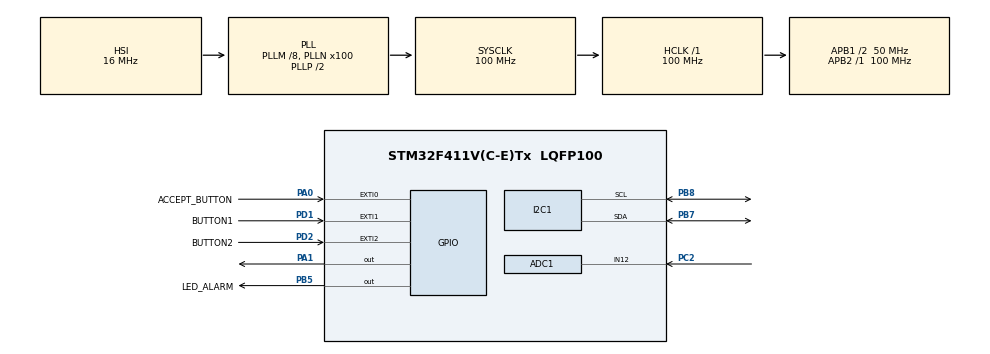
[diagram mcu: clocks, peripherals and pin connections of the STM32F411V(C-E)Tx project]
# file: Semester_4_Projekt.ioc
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ADC1.Channel-0\#ChannelRegularConversion=ADC_CHANNEL_12
ADC1.ContinuousConvMode=ENABLE
ADC1.DMAContinuousRequests=DISABLE
ADC1.NbrOfConversionFlag=1
ADC1.Rank-0\#ChannelRegularConversion=1
ADC1.SamplingTime-0\#ChannelRegularConversion=ADC_SAMPLETIME_3CYCLES
ADC1.master=1
Dma.ADC1.0.Direction=DMA_PERIPH_TO_MEMORY
Dma.ADC1.0.FIFOMode=DMA_FIFOMODE_DISABLE
Dma.ADC1.0.Instance=DMA2_Stream0
Dma.ADC1.0.MemDataAlignment=DMA_MDATAALIGN_WORD
Dma.ADC1.0.MemInc=DMA_MINC_ENABLE
Dma.ADC1.0.Mode=DMA_CIRCULAR
Dma.ADC1.0.PeriphDataAlignment=DMA_PDATAALIGN_WORD
Dma.ADC1.0.PeriphInc=DMA_PINC_DISABLE
Dma.ADC1.0.Priority=DMA_PRIORITY_LOW
Dma.Request0=ADC1
Mcu.Family=STM32F4
Mcu.Name=STM32F411V(C-E)Tx
Mcu.Package=LQFP100
NVIC.ADC_IRQn=true\:0\:0\:false\:false\:true\:true\:true\:true
NVIC.DMA2_Stream0_IRQn=true\:0\:0\:false\:false\:true\:false\:true\:true
NVIC.EXTI0_IRQn=true\:1\:0\:true\:false\:true\:true\:true\:true
NVIC.EXTI1_IRQn=true\:1\:0\:true\:false\:true\:true\:true\:true
NVIC.EXTI2_IRQn=true\:1\:0\:true\:false\:true\:true\:true\:true
NVIC.I2C1_ER_IRQn=true\:0\:0\:false\:false\:true\:true\:true\:true
NVIC.I2C1_EV_IRQn=true\:0\:0\:false\:false\:true\:true\:true\:true
NVIC.PriorityGroup=NVIC_PRIORITYGROUP_4
NVIC.TIM1_BRK_TIM9_IRQn=true\:1\:0\:true\:false\:true\:true\:true\:true
NVIC.TIM1_UP_TIM10_IRQn=true\:1\:0\:true\:false\:true\:true\:true\:true
NVIC.TIM2_IRQn=true\:1\:0\:true\:false\:true\:true\:true\:true
PA0-WKUP.GPIO_Label=ACCEPT_BUTTON
PA0-WKUP.Signal=GPXTI0
PA1.GPIO_ModeDefaultOutputPP=GPIO_MODE_OUTPUT_OD
PA1.GPIO_PuPd=GPIO_NOPULL
PA1.GPIO_Speed=GPIO_SPEED_FREQ_HIGH
PA1.Signal=GPIO_Output
PB5.GPIO_Label=LED_ALARM
PB5.Signal=GPIO_Output
PB7.Mode=I2C
PB7.Signal=I2C1_SDA
PB8.Mode=I2C
PB8.Signal=I2C1_SCL
PC2.Signal=ADCx_IN12
PD1.GPIO_Label=BUTTON1
PD1.GPIO_ModeDefaultEXTI=GPIO_MODE_IT_RISING
PD1.Signal=GPXTI1
PD2.GPIO_Label=BUTTON2
PD2.Signal=GPXTI2
ProjectManager.HeapSize=0x200
ProjectManager.StackSize=0x400
ProjectManager.TargetToolchain=STM32CubeIDE
RCC.48MHZClocksFreq_Value=50000000
RCC.AHBFreq_Value=100000000
RCC.APB1CLKDivider=RCC_HCLK_DIV2
RCC.APB1Freq_Value=50000000
RCC.APB1TimFreq_Value=100000000
RCC.APB2Freq_Value=100000000
RCC.APB2TimFreq_Value=100000000
RCC.CortexFreq_Value=100000000
RCC.HCLKFreq_Value=100000000
RCC.HSE_VALUE=25000000
RCC.HSI_VALUE=16000000
RCC.LSE_VALUE=32768
RCC.PLLM=8
RCC.PLLN=100
RCC.SYSCLKFreq_VALUE=100000000
RCC.SYSCLKSource=RCC_SYSCLKSOURCE_PLLCLK
RCC.VCOOutputFreq_Value=200000000
SH.ADCx_IN12.0=ADC1_IN12,IN12
TIM1.Period=49999
TIM1.Prescaler=199
TIM2.Period=0
TIM2.Prescaler=0
VP_TIM1_VS_ClockSourceINT.Mode=Internal
VP_TIM2_VS_ClockSourceINT.Mode=Internal
board=custom

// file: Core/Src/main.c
/* USER CODE BEGIN Header */
/**
  ******************************************************************************
  * @file           : main.c
  * @brief          : Main program body
  ******************************************************************************
  * @attention
  *
  * Copyright (c) 2025 STMicroelectronics.
  * All rights reserved.
  *
  * This software is licensed under terms that can be found in the LICENSE file
  * in the root directory of this software component.
  * If no LICENSE file comes with this software, it is provided AS-IS.
  *
  ******************************************************************************
  */
/* USER CODE END Header */
#include "main.h"

/* USER CODE BEGIN Includes */
#include <stdlib.h>
#include <stdio.h>
#include <string.h>
#include "OneWire.h"
#include "DS18B20.h"
#include "i2clcd.h"
/* USER CODE END Includes */

/* USER CODE BEGIN PTD */
enum Menu_State{
    MENU_STATE_TEMP = 0, MENU_STATE_ROM,
    MENU_STATE_RES, MENU_STATE_THRESHOLD_T_LOW, MENU_STATE_THRESHOLD_T_HIGH
};

/* USER CODE END PTD */

/* USER CODE BEGIN PD */
#define ADC_NUM_SAMPLES 100

/* USER CODE END PD */

ADC_HandleTypeDef hadc1;
DMA_HandleTypeDef hdma_adc1;

I2C_HandleTypeDef hi2c1;

TIM_HandleTypeDef htim1;
TIM_HandleTypeDef htim2;

/* USER CODE BEGIN PV */
OneWire_HandleTypedef honew1;
DS18B20_HandleTypedef hds18b20;

int8_t tHigh, tLow;
char strbuf[20];

enum Menu_State curr_menu_state;

uint32_t adc_buffer[ADC_NUM_SAMPLES];
uint32_t adc_median;

/* USER CODE END PV */

void SystemClock_Config(void);
static void MX_GPIO_Init(void);
static void MX_DMA_Init(void);
static void MX_TIM2_Init(void);
static void MX_I2C1_Init(void);
static void MX_ADC1_Init(void);
static void MX_TIM1_Init(void);

/* USER CODE BEGIN 0 */

void print_menu(){
    switch(curr_menu_state){
    case MENU_STATE_TEMP:
        lcd_send_cmd((char)(0x80 | lcd_get_pos(0, 0)));
        lcd_send_string("Current Temperature:");

        lcd_send_cmd((char)(0x80 | lcd_get_pos(1, 7)));
        sprintf(strbuf, "%.3f", DS18B20_getTemp(&hds18b20));
        lcd_send_string(strbuf);

        lcd_send_cmd((char)(0x80 | lcd_get_pos(3, 18)));
        lcd_send_string("->");
        break;
    case MENU_STATE_ROM:
        lcd_send_cmd((char)(0x80 | lcd_get_pos(0, 5)));
        lcd_send_string("Sensor ROM");

        lcd_send_cmd((char)(0x80 | lcd_get_pos(1, 1)));
        sprintf(strbuf, "0x%02X%02X%02X%02X%02X%02X%02X%02X", hds18b20.rom[0], hds18b20.rom[1],
                                                              hds18b20.rom[2], hds18b20.rom[3],
                                                              hds18b20.rom[4], hds18b20.rom[5],
                                                              hds18b20.rom[6], hds18b20.rom[7]);
        lcd_send_string(strbuf);

        lcd_send_cmd((char)(0x80 | lcd_get_pos(3, 0)));
        lcd_send_string("<-");
        lcd_send_cmd((char)(0x80 | lcd_get_pos(3, 18)));
        lcd_send_string("->");
        break;
    case MENU_STATE_RES:
        lcd_send_cmd((char)(0x80 | lcd_get_pos(0, 1)));
        lcd_send_string("Current Resolution");

        lcd_send_cmd((char)(0x80 | lcd_get_pos(1, 7)));
        switch(DS18B20_getResolution(&hds18b20)){
        case DS18B20_RES_9Bit:
            lcd_send_string(" 9 Bit");
            break;
        case DS18B20_RES_10Bit:
            lcd_send_string("10 Bit");
            break;
        case DS18B20_RES_11Bit:
            lcd_send_string("11 Bit");
            break;
        case DS18B20_RES_12Bit:
            lcd_send_string("12 Bit");
            break;
        default:
            lcd_send_cmd((char)(0x80 | lcd_get_pos(1, 5)));
            lcd_send_string("WHAT Y'ALL");
            lcd_send_cmd((char)(0x80 | lcd_get_pos(2, 5)));
            lcd_send_string("DOIN' HERE");
            break;
        }

        lcd_send_cmd((char)(0x80 | lcd_get_pos(2, 3)));
        lcd_send_string("Set Resolution");

        lcd_send_cmd((char)(0x80 | lcd_get_pos(3, 7)));
        switch(__LL_ADC_CALC_DATA_TO_VOLTAGE(3, adc_median, LL_ADC_RESOLUTION_12B)){
        case 0:
            lcd_send_string(" 9 Bit");
            break;
        case 1:
            lcd_send_string("10 Bit");
            break;
        case 2:
            lcd_send_string("11 Bit");
            break;
        case 3:
            lcd_send_string("12 Bit");
            break;
        default:
            lcd_send_cmd((char)(0x80 | lcd_get_pos(1, 5)));
            lcd_send_string("WHAT Y'ALL");
            lcd_send_cmd((char)(0x80 | lcd_get_pos(2, 5)));
            lcd_send_string("DOIN' HERE");
            break;
        }

        lcd_send_cmd((char)(0x80 | lcd_get_pos(3, 0)));
        lcd_send_string("<-");
        lcd_send_cmd((char)(0x80 | lcd_get_pos(3, 18)));
        lcd_send_string("->");
        break;
    case MENU_STATE_THRESHOLD_T_LOW:
        lcd_send_cmd((char)(0x80 | lcd_get_pos(0, 1)));
        lcd_send_string("Current Alarm Low:");

        lcd_send_cmd((char)(0x80 | lcd_get_pos(1, 8)));
        sprintf(strbuf, "%d C", tLow);
        lcd_send_string(strbuf);

        lcd_send_cmd((char)(0x80 | lcd_get_pos(2, 3)));
        lcd_send_string("Set Alarm Low:");

        lcd_clear_line(3, 0);
        lcd_send_cmd((char)(0x80 | lcd_get_pos(3, 8)));
        sprintf(strbuf, "%d C", (int8_t)(__LL_ADC_CALC_DATA_TO_VOLTAGE(UINT8_MAX, adc_median, LL_ADC_RESOLUTION_12B)));
        lcd_send_string(strbuf);

        lcd_send_cmd((char)(0x80 | lcd_get_pos(3, 18)));
        lcd_send_string("->");
        lcd_send_cmd((char)(0x80 | lcd_get_pos(3, 0)));
        lcd_send_string("<-");
        break;
    case MENU_STATE_THRESHOLD_T_HIGH:
        lcd_send_cmd((char)(0x80 | lcd_get_pos(0, 1)));
        lcd_send_string("Current Alarm High");

        lcd_send_cmd((char)(0x80 | lcd_get_pos(1, 8)));
        sprintf(strbuf, "%d C", tHigh);
        lcd_send_string(strbuf);

        lcd_send_cmd((char)(0x80 | lcd_get_pos(2, 3)));
        lcd_send_string("Set Alarm High");

        lcd_clear_line(3, 0);
        lcd_send_cmd((char)(0x80 | lcd_get_pos(3, 8)));
        sprintf(strbuf, "%d C", (int8_t)(__LL_ADC_CALC_DATA_TO_VOLTAGE(UINT8_MAX, adc_median, LL_ADC_RESOLUTION_12B)));
        lcd_send_string(strbuf);

        lcd_send_cmd((char)(0x80 | lcd_get_pos(3, 0)));
        lcd_send_string("<-");
        break;
    default:
        lcd_send_cmd((char)(0x80 | lcd_get_pos(1, 5)));
        lcd_send_string("WHAT Y'ALL");
        lcd_send_cmd((char)(0x80 | lcd_get_pos(2, 5)));
        lcd_send_string("DOIN' HERE");
        break;
    }
}

void calcMedian(){
    uint32_t sum = 0;
    for (uint32_t i = 0; i < ADC_NUM_SAMPLES; ++i){
        sum += adc_buffer[i];
    }
    adc_median = sum/ADC_NUM_SAMPLES;
}

void HAL_ADC_ConvCpltCallback(ADC_HandleTypeDef* hadc){
    if(hadc->Instance == ADC1){
        calcMedian();
    }
}

void HAL_TIM_PeriodElapsedCallback(TIM_HandleTypeDef* htim){
    if(htim->Instance == htim2.Instance){ // OneWire Interrupt (Lib changes timings!)
        OneWire_TIM_Hook(&honew1);
    }
    if(htim->Instance == htim1.Instance){ // 100ms Interrupt
        DS18B20_ConvertT_single(&hds18b20);
        DS18B20_ReadScratchpad(&hds18b20);
        DS18B20_getThresholdT(&hds18b20, &tHigh, &tLow);

        if((int8_t)(DS18B20_getTemp(&hds18b20)) > tHigh || (int8_t)(DS18B20_getTemp(&hds18b20)) < tLow){
            HAL_GPIO_WritePin(LED_ALARM_GPIO_Port, LED_ALARM_Pin, GPIO_PIN_SET);
        }
        else HAL_GPIO_WritePin(LED_ALARM_GPIO_Port, LED_ALARM_Pin, GPIO_PIN_RESET);

        if (curr_menu_state == MENU_STATE_RES ||
            curr_menu_state == MENU_STATE_THRESHOLD_T_LOW ||
            curr_menu_state == MENU_STATE_THRESHOLD_T_HIGH){
            HAL_ADC_Start_DMA(&hadc1, adc_buffer, ADC_NUM_SAMPLES);
        }

        print_menu();
    }
}

void HAL_GPIO_EXTI_Callback(uint16_t GPIO_Pin){
    switch(GPIO_Pin){
    case BUTTON1_Pin:
        if (curr_menu_state != MENU_STATE_TEMP){ // Call it Karl Marx, 'cause you ain't getting more left
            curr_menu_state--;
            lcd_clear();
        }
        break;
    case BUTTON2_Pin:
        if (curr_menu_state != MENU_STATE_THRESHOLD_T_HIGH){ // Call it Adolf, 'cause ... i'll better stop
            curr_menu_state++;
            lcd_clear();
        }
        break;
    case ACCEPT_BUTTON_Pin:
        switch(curr_menu_state){
        case MENU_STATE_RES:
            DS18B20_setResolution(&hds18b20,
                                 (DS18B20_Resolution)(__LL_ADC_CALC_DATA_TO_VOLTAGE(3, adc_median, LL_ADC_RESOLUTION_12B)));
            DS18B20_WriteScratchpad(&hds18b20);

            // copy Scratchpad into EEPROM... that lousy dev didnt provide a ds18b20 function for it
            OneWire_WriteByte(&honew1, DS18B20_CMD_CP_SCRATCHPAD);
            break;
        case MENU_STATE_THRESHOLD_T_LOW:
            DS18B20_setThresholdT(&hds18b20,
                    (int8_t)(__LL_ADC_CALC_DATA_TO_VOLTAGE(UINT8_MAX, adc_median, LL_ADC_RESOLUTION_12B)),
                    tHigh);
            DS18B20_WriteScratchpad(&hds18b20);
            OneWire_WriteByte(&honew1, DS18B20_CMD_CP_SCRATCHPAD);
            break;
        case MENU_STATE_THRESHOLD_T_HIGH:
            DS18B20_setThresholdT(&hds18b20,
                    tLow,
                    (int8_t)(__LL_ADC_CALC_DATA_TO_VOLTAGE(UINT8_MAX, adc_median, LL_ADC_RESOLUTION_12B)));
            DS18B20_WriteScratchpad(&hds18b20);
            OneWire_WriteByte(&honew1, DS18B20_CMD_CP_SCRATCHPAD);
            break;
        case MENU_STATE_TEMP: // keeping the compiler happy,
        case MENU_STATE_ROM:  // cause of the warning "-Wswitch" -.-
            break;
        }
        break;
    }
}

/* USER CODE END 0 */

int main(void)
{

  /* MCU Configuration--------------------------------------------------------*/

  /* Reset of all peripherals, Initializes the Flash interface and the Systick. */
  HAL_Init();

  /* Configure the system clock */
  SystemClock_Config();

  /* Initialize all configured peripherals */
  MX_GPIO_Init();
  MX_DMA_Init();
  MX_TIM2_Init();
  MX_I2C1_Init();
  MX_ADC1_Init();
  MX_TIM1_Init();
  /* USER CODE BEGIN 2 */

  OneWire_init(&honew1, &htim2, GPIOA, GPIO_PIN_1);
  DS18B20_init(&hds18b20, &honew1);
  DS18B20_ReadROM(&hds18b20);

  lcd_init();
  lcd_clear();

  HAL_TIM_Base_Start_IT(&htim1);

  /* USER CODE END 2 */

  /* Infinite loop */
  while (1)
  {

  }
}

void SystemClock_Config(void)
{
  RCC_OscInitTypeDef RCC_OscInitStruct = {0};
  RCC_ClkInitTypeDef RCC_ClkInitStruct = {0};

  /** Configure the main internal regulator output voltage
  */
  __HAL_RCC_PWR_CLK_ENABLE();
  __HAL_PWR_VOLTAGESCALING_CONFIG(PWR_REGULATOR_VOLTAGE_SCALE1);

  /** Initializes the RCC Oscillators according to the specified parameters
  * in the RCC_OscInitTypeDef structure.
  */
  RCC_OscInitStruct.OscillatorType = RCC_OSCILLATORTYPE_HSI;
  RCC_OscInitStruct.HSIState = RCC_HSI_ON;
  RCC_OscInitStruct.HSICalibrationValue = RCC_HSICALIBRATION_DEFAULT;
  RCC_OscInitStruct.PLL.PLLState = RCC_PLL_ON;
  RCC_OscInitStruct.PLL.PLLSource = RCC_PLLSOURCE_HSI;
  RCC_OscInitStruct.PLL.PLLM = 8;
  RCC_OscInitStruct.PLL.PLLN = 100;
  RCC_OscInitStruct.PLL.PLLP = RCC_PLLP_DIV2;
  RCC_OscInitStruct.PLL.PLLQ = 4;
  if (HAL_RCC_OscConfig(&RCC_OscInitStruct) != HAL_OK)
  {
    Error_Handler();
  }

  /** Initializes the CPU, AHB and APB buses clocks
  */
  RCC_ClkInitStruct.ClockType = RCC_CLOCKTYPE_HCLK|RCC_CLOCKTYPE_SYSCLK
                              |RCC_CLOCKTYPE_PCLK1|RCC_CLOCKTYPE_PCLK2;
  RCC_ClkInitStruct.SYSCLKSource = RCC_SYSCLKSOURCE_PLLCLK;
  RCC_ClkInitStruct.AHBCLKDivider = RCC_SYSCLK_DIV1;
  RCC_ClkInitStruct.APB1CLKDivider = RCC_HCLK_DIV2;
  RCC_ClkInitStruct.APB2CLKDivider = RCC_HCLK_DIV1;

  if (HAL_RCC_ClockConfig(&RCC_ClkInitStruct, FLASH_LATENCY_3) != HAL_OK)
  {
    Error_Handler();
  }
}

static void MX_ADC1_Init(void)
{

  ADC_ChannelConfTypeDef sConfig = {0};

  /** Configure the global features of the ADC (Clock, Resolution, Data Alignment and number of conversion)
  */
  hadc1.Instance = ADC1;
  hadc1.Init.ClockPrescaler = ADC_CLOCK_SYNC_PCLK_DIV4;
  hadc1.Init.Resolution = ADC_RESOLUTION_12B;
  hadc1.Init.ScanConvMode = DISABLE;
  hadc1.Init.ContinuousConvMode = ENABLE;
  hadc1.Init.DiscontinuousConvMode = DISABLE;
  hadc1.Init.ExternalTrigConvEdge = ADC_EXTERNALTRIGCONVEDGE_NONE;
  hadc1.Init.ExternalTrigConv = ADC_SOFTWARE_START;
  hadc1.Init.DataAlign = ADC_DATAALIGN_RIGHT;
  hadc1.Init.NbrOfConversion = 1;
  hadc1.Init.DMAContinuousRequests = DISABLE;
  hadc1.Init.EOCSelection = ADC_EOC_SINGLE_CONV;
  if (HAL_ADC_Init(&hadc1) != HAL_OK)
  {
    Error_Handler();
  }

  /** Configure for the selected ADC regular channel its corresponding rank in the sequencer and its sample time.
  */
  sConfig.Channel = ADC_CHANNEL_12;
  sConfig.Rank = 1;
  sConfig.SamplingTime = ADC_SAMPLETIME_3CYCLES;
  if (HAL_ADC_ConfigChannel(&hadc1, &sConfig) != HAL_OK)
  {
    Error_Handler();
  }

}

static void MX_I2C1_Init(void)
{

  hi2c1.Instance = I2C1;
  hi2c1.Init.ClockSpeed = 100000;
  hi2c1.Init.DutyCycle = I2C_DUTYCYCLE_2;
  hi2c1.Init.OwnAddress1 = 0;
  hi2c1.Init.AddressingMode = I2C_ADDRESSINGMODE_7BIT;
  hi2c1.Init.DualAddressMode = I2C_DUALADDRESS_DISABLE;
  hi2c1.Init.OwnAddress2 = 0;
  hi2c1.Init.GeneralCallMode = I2C_GENERALCALL_DISABLE;
  hi2c1.Init.NoStretchMode = I2C_NOSTRETCH_DISABLE;
  if (HAL_I2C_Init(&hi2c1) != HAL_OK)
  {
    Error_Handler();
  }

}

static void MX_TIM1_Init(void)
{

  TIM_ClockConfigTypeDef sClockSourceConfig = {0};
  TIM_MasterConfigTypeDef sMasterConfig = {0};

  htim1.Instance = TIM1;
  htim1.Init.Prescaler = 199;
  htim1.Init.CounterMode = TIM_COUNTERMODE_UP;
  htim1.Init.Period = 49999;
  htim1.Init.ClockDivision = TIM_CLOCKDIVISION_DIV1;
  htim1.Init.RepetitionCounter = 0;
  htim1.Init.AutoReloadPreload = TIM_AUTORELOAD_PRELOAD_DISABLE;
  if (HAL_TIM_Base_Init(&htim1) != HAL_OK)
  {
    Error_Handler();
  }
  sClockSourceConfig.ClockSource = TIM_CLOCKSOURCE_INTERNAL;
  if (HAL_TIM_ConfigClockSource(&htim1, &sClockSourceConfig) != HAL_OK)
  {
    Error_Handler();
  }
  sMasterConfig.MasterOutputTrigger = TIM_TRGO_RESET;
  sMasterConfig.MasterSlaveMode = TIM_MASTERSLAVEMODE_DISABLE;
  if (HAL_TIMEx_MasterConfigSynchronization(&htim1, &sMasterConfig) != HAL_OK)
  {
    Error_Handler();
  }

}

static void MX_TIM2_Init(void)
{

  TIM_ClockConfigTypeDef sClockSourceConfig = {0};
  TIM_MasterConfigTypeDef sMasterConfig = {0};

  htim2.Instance = TIM2;
  htim2.Init.Prescaler = 0;
  htim2.Init.CounterMode = TIM_COUNTERMODE_UP;
  htim2.Init.Period = 0;
  htim2.Init.ClockDivision = TIM_CLOCKDIVISION_DIV1;
  htim2.Init.AutoReloadPreload = TIM_AUTORELOAD_PRELOAD_DISABLE;
  if (HAL_TIM_Base_Init(&htim2) != HAL_OK)
  {
    Error_Handler();
  }
  sClockSourceConfig.ClockSource = TIM_CLOCKSOURCE_INTERNAL;
  if (HAL_TIM_ConfigClockSource(&htim2, &sClockSourceConfig) != HAL_OK)
  {
    Error_Handler();
  }
  sMasterConfig.MasterOutputTrigger = TIM_TRGO_RESET;
  sMasterConfig.MasterSlaveMode = TIM_MASTERSLAVEMODE_DISABLE;
  if (HAL_TIMEx_MasterConfigSynchronization(&htim2, &sMasterConfig) != HAL_OK)
  {
    Error_Handler();
  }

}

static void MX_DMA_Init(void)
{

  /* DMA controller clock enable */
  __HAL_RCC_DMA2_CLK_ENABLE();

  /* DMA interrupt init */
  /* DMA2_Stream0_IRQn interrupt configuration */
  HAL_NVIC_SetPriority(DMA2_Stream0_IRQn, 0, 0);
  HAL_NVIC_EnableIRQ(DMA2_Stream0_IRQn);

}

static void MX_GPIO_Init(void)
{
  GPIO_InitTypeDef GPIO_InitStruct = {0};

  /* GPIO Ports Clock Enable */
  __HAL_RCC_GPIOC_CLK_ENABLE();
  __HAL_RCC_GPIOA_CLK_ENABLE();
  __HAL_RCC_GPIOD_CLK_ENABLE();
  __HAL_RCC_GPIOB_CLK_ENABLE();

  /*Configure GPIO pin Output Level */
  HAL_GPIO_WritePin(GPIOA, GPIO_PIN_1, GPIO_PIN_RESET);

  /*Configure GPIO pin Output Level */
  HAL_GPIO_WritePin(LED_ALARM_GPIO_Port, LED_ALARM_Pin, GPIO_PIN_RESET);

  /*Configure GPIO pin : ACCEPT_BUTTON_Pin */
  GPIO_InitStruct.Pin = ACCEPT_BUTTON_Pin;
  GPIO_InitStruct.Mode = GPIO_MODE_IT_RISING;
  GPIO_InitStruct.Pull = GPIO_NOPULL;
  HAL_GPIO_Init(ACCEPT_BUTTON_GPIO_Port, &GPIO_InitStruct);

  /*Configure GPIO pin : PA1 */
  GPIO_InitStruct.Pin = GPIO_PIN_1;
  GPIO_InitStruct.Mode = GPIO_MODE_OUTPUT_OD;
  GPIO_InitStruct.Pull = GPIO_NOPULL;
  GPIO_InitStruct.Speed = GPIO_SPEED_FREQ_HIGH;
  HAL_GPIO_Init(GPIOA, &GPIO_InitStruct);

  /*Configure GPIO pins : BUTTON1_Pin BUTTON2_Pin */
  GPIO_InitStruct.Pin = BUTTON1_Pin|BUTTON2_Pin;
  GPIO_InitStruct.Mode = GPIO_MODE_IT_RISING;
  GPIO_InitStruct.Pull = GPIO_NOPULL;
  HAL_GPIO_Init(GPIOD, &GPIO_InitStruct);

  /*Configure GPIO pin : LED_ALARM_Pin */
  GPIO_InitStruct.Pin = LED_ALARM_Pin;
  GPIO_InitStruct.Mode = GPIO_MODE_OUTPUT_PP;
  GPIO_InitStruct.Pull = GPIO_NOPULL;
  GPIO_InitStruct.Speed = GPIO_SPEED_FREQ_LOW;
  HAL_GPIO_Init(LED_ALARM_GPIO_Port, &GPIO_InitStruct);

  /* EXTI interrupt init*/
  HAL_NVIC_SetPriority(EXTI0_IRQn, 1, 0);
  HAL_NVIC_EnableIRQ(EXTI0_IRQn);

  HAL_NVIC_SetPriority(EXTI1_IRQn, 1, 0);
  HAL_NVIC_EnableIRQ(EXTI1_IRQn);

  HAL_NVIC_SetPriority(EXTI2_IRQn, 1, 0);
  HAL_NVIC_EnableIRQ(EXTI2_IRQn);

}

void Error_Handler(void)
{
  __disable_irq();
  while (1)
  {
  }
}
